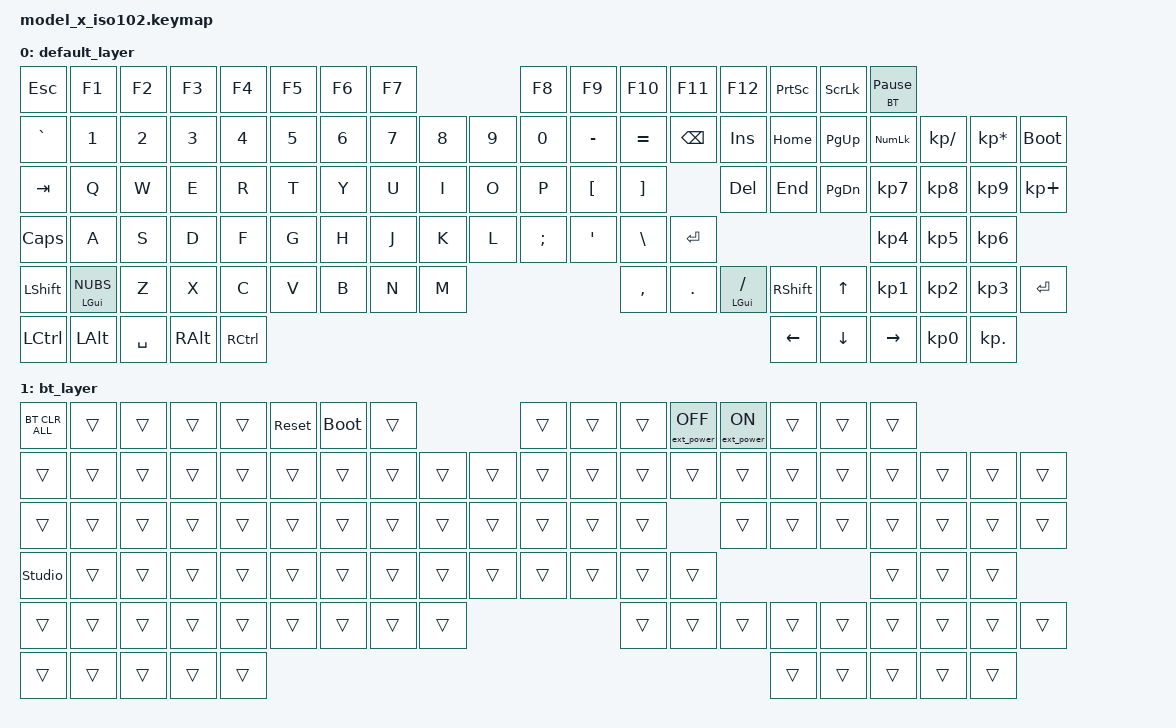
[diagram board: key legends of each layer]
/*
 * Copyright (c) 2020 The ZMK Contributors
 *
 * SPDX-License-Identifier: MIT
 */

#include <behaviors.dtsi>
#include <dt-bindings/zmk/keys.h>
#include <dt-bindings/zmk/bt.h>
#include <dt-bindings/zmk/outputs.h>
#include <dt-bindings/zmk/ext_power.h>

#define DEFAULT 0
#define BT      1


/ {
    keymap {
        compatible = "zmk,keymap";


        default_layer {
        // ------------------------------------------------------------------------------------------
        //      |ESC      |F1       |F2       |F3       |F4       |F5       |F6       |F7       |F8       |F9       |F10      |F11      |F12                          |PrtSCR   |SLCK     |BREAK    
        //      |`        |1        |2        |3        |4        |5        |6        |7        |8        |9        |0        |-        |=        |BKSP               |INSERT   |HOME     |PAGE_UP            |BL_NUM   |KP_SLASH |STAR     |KP_MINUS |
        //      |TAB      |Q        |W        |E        |R        |T        |Y        |U        |I        |O        |P        |[        |]        |                   |DELETE   |END      |PAGE_DW            |KP_N7    |KP_N8    |KP_N9    |KP_PLUS  |
        //      |CAPS     |A        |S        |D        |F        |G        |H        |J        |K        |L        |;        |'        |ù        |ENTER                                  |KP_N4              |KP_N5    |KP_N6    |
        //      |SHIFT    |<>       |Z        |X        |C        |V        |B        |N        |M        |,        |.        |/        |SHIFT                                  |UP                           |KP_N1    |KP_N2    |KP_N3    |RET      |
        //      |CTL      |ALT      | SPACE                                                                                   |ALT      |CTL                          |LEFT     |DOWN     |RIGHT              |KP_N0    |KP_DOT   |
        // ------------------------------------------------------------------------------------------
            bindings = <
                &kp ESC   &kp F1        &kp F2   &kp F3    &kp F4    &kp F5    &kp F6    &kp F7    &kp F8    &kp F9    &kp F10   &kp F11 &kp F12      &kp PSCRN   &kp SLCK   &lt BT PAUSE_BREAK
                &kp GRAVE &kp N1        &kp N2   &kp N3 &kp N4 &kp N5 &kp N6 &kp N7 &kp N8 &kp N9 &kp N0 &kp MINUS &kp EQUAL      &kp BSPC            &kp INS     &kp HOME   &kp PAGE_UP           &kp KP_NUMLOCK &kp KP_SLASH   &kp KP_ASTERISK  &bootloader
                &kp TAB   &kp Q         &kp W    &kp E  &kp R  &kp T  &kp Y  &kp U  &kp I  &kp O  &kp P  &kp LBKT  &kp RBKT                           &kp DELETE  &kp END    &kp PAGE_DOWN         &kp KP_N7      &kp KP_N8      &kp KP_N9        &kp KP_PLUS
                &kp CLCK  &kp A         &kp S    &kp D  &kp F  &kp G  &kp H  &kp J  &kp K  &kp L  &kp SEMI &kp SQT  &kp BSLH      &kp RET                                                          &kp KP_N4      &kp KP_N5      &kp KP_N6
                &kp LSHFT &mt LGUI NUBS &kp Z    &kp X    &kp C  &kp V  &kp B  &kp N  &kp M  &kp COMMA &kp DOT     &mt LGUI FSLH  &kp RSHFT                       &kp UP                           &kp KP_N1      &kp KP_N2      &kp KP_N3        &kp RET
                &kp LCTRL &kp LALT             &kp SPACE                                                         &kp RALT         &kp RCTRL           &kp LEFT    &kp DOWN   &kp RIGHT             &kp KP_N0                     &kp KP_DOT                              
            >;
        };

        bt_layer {
        // ------------------------------------------------------------------------------------------
        // |BT_CLR_ALL|        |         |         |F4       |RESET    |BOOTLDR  |F7       |F8       |F9       |F10      |ExtPwOff |ExtPwrOn                     |PrtSCR   |SLCK     |BREAK    
        // |         |         |         |         |4        |5        |6        |7        |8        |9        |0        |-        |=        |BKSP               |INSERT   |HOME     |PAGE_UP            |BL_NUM   |KP_SLASH |STAR     |KP_MINUS |
        // |B        |         |         |         |R        |T        |Y        |U        |I        |O        |P        |[        |]        |                   |DELETE   |END      |PAGE_DW            |KP_N7    |KP_N8    |KP_N9    |KP_PLUS  |
        // |         |         |         |         |F        |G        |H        |J        |K        |L        |;        |'        |ù        |ENTER                                  |KP_N4              |KP_N5    |KP_N6    |
        // |         |         |         |         |C        |V        |B        |N        |M        |,        |.        |/        |SHIFT                                  |UP                           |KP_N1    |KP_N2    |KP_N3    |RET      |
        // |         |         |                                                                                         |ALT      |CTL                          |LEFT     |DOWN     |RIGHT              |KP_N0    |KP_DOT   |
        // ------------------------------------------------------------------------------------------
            bindings = <
                &bt BT_CLR_ALL &trans &trans &trans &trans &sys_reset &bootloader &trans &trans &trans &trans &ext_power EP_OFF &ext_power EP_ON    &trans &trans &trans
                &trans         &trans &trans &trans &trans &trans &trans &trans &trans &trans &trans &trans &trans     &trans                       &trans &trans &trans        &trans &trans &trans &trans
                &trans         &trans &trans &trans &trans &trans &trans &trans &trans &trans &trans &trans &trans                                  &trans &trans &trans        &trans &trans &trans &trans
                &studio_unlock &trans &trans &trans &trans &trans &trans &trans &trans &trans &trans &trans &trans     &trans                                                   &trans &trans &trans 
                &trans         &trans &trans &trans &trans &trans &trans &trans &trans &trans &trans &trans &trans                                         &trans               &trans &trans &trans &trans
                &trans         &trans &trans                                                         &trans &trans                                  &trans &trans &trans        &trans &trans
            >;
        };

        // ANSI
        // default_layer {
        //    // ------------------------------------------------------------------------------------------
        //    // | ESC |  F1  |  F2  |  F3  |  F4  |  F5  |  F6  |  F7  |  F8  |  F9  |  F10  | F11 | F12 | PRT SCR | SLCK | PAUSE_BREAK |
        //    // |  `  |  1  |  2  |  3  |  4  |  5  |  6  |  7  |  8  |  9  |  0  |  -  |  =  |   BKSP   | INSERT  |  HOME  |  PAGE_UP  |   WIN  | KP_SLASH | STAR | KP_MINUS |
        //    // | TAB  |  Q  |  W  |  E  |  R  |  T  |  Y  |  U  |  I  |  O  |  P  |  [  |  ]  |   "|"   |  DELETE  |  END |  PAGE_DOWN |  KP_N7 |   KP_N8 | KP_N9 | KP_PLUS  |
        //    // | CAPS  |  A  |  S  |  D  |  F  |  G  |  H  |  J  |  K  |  L  |  ;  |  '  |     ENTER    |                                 KP_N4 |   KP_N5 | KP_N6 |
        //    // |  SHIFT  |  Z  |  X  |  C  |  V  |  B  |  N  |  M  |  ,  |  .  |  /  |      SHIFT       |              UP              |  KP_N1 |   KP_N2 | KP_N3 |    RET   |
        //    // |  CTL      |  ALT  |            SPACE                                  |  ALT   |  CTL  |   LEFT  |  DOWN  |   RIGHT   |  KP_N0 |  KP_DOT |
        //    // ------------------------------------------------------------------------------------------
        //    bindings = <
        //        &kp ESC   &kp F1   &kp F2   &kp F3   &kp F4    &kp F5   &kp F6   &kp F7   &kp F8  &kp F9  &kp F10  &kp F11  &kp F12  &kp PSCRN   &kp SLCK   &kp PAUSE_BREAK
        //        &kp GRAVE  &kp N1   &kp N2   &kp N3 &kp N4 &kp N5 &kp N6 &kp N7 &kp N8 &kp N9 &kp N0 &kp MINUS &kp EQUAL  &kp BSPC   &kp INS     &kp HOME   &kp PAGE_UP     &kp KP_NUMLOCK &kp KP_SLASH   &kp KP_ASTERISK  &kp KP_MINUS
        //        &kp TAB   &kp Q    &kp W    &kp E  &kp R  &kp T  &kp Y  &kp U  &kp I  &kp O  &kp P  &kp LBKT  &kp RBKT  &kp BSLH     &kp DELETE  &kp END    &kp PAGE_DOWN   &kp KP_N7      &kp KP_N8      &kp KP_N9        &kp KP_PLUS
        //        &kp CLCK  &kp A    &kp S    &kp D  &kp F  &kp G  &kp H  &kp J  &kp K  &kp L  &kp SEMI &kp SQT            &kp RET                                            &kp KP_N4      &kp KP_N5      &kp KP_N6
        //        &kp LSHFT &kp Z    &kp X    &kp C  &kp V  &kp B  &kp N  &kp M  &kp COMMA &kp DOT &kp FSLH            &kp RSHFT                   &kp UP                     &kp KP_N1      &kp KP_N2      &kp KP_N3        &kp RET
        //        &kp LCTRL &kp LALT             &kp SPACE                     &kp RALT    &kp RCTRL                                   &kp LEFT    &kp DOWN   &kp RIGHT       &kp KP_N0      &kp KP_DOT                              
        //    >;
        //};
        
        extra1 {
            status = "reserved";
        };

        extra2 {
            status = "reserved";
        };
    };
};
